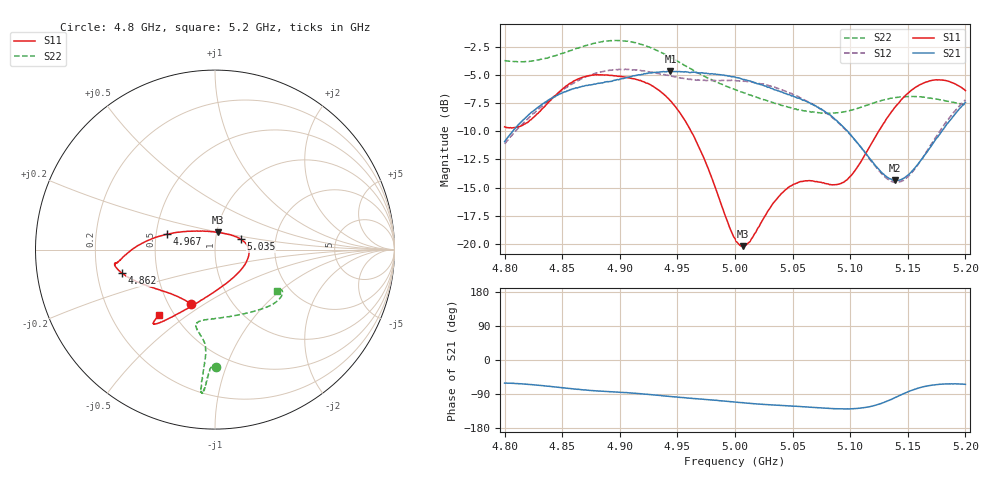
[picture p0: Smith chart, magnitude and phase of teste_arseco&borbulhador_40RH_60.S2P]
! Network Analyzer HP8722D
! Hewlett-Packard
! Data name: Linha & Wilkinson
! Saver's name: Rodrigo Anjos
! Comments: Teste da utilização de aquisição
! continua pelo VNA HP8722D
! Time and date: 15/4/2025 16:51
!  Frequency  S11  S21  S12  S22
# HZ  S  MA R 50
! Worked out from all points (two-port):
!   401 points, 4.8 GHz to 5.2 GHz, reference 50 ohm
!   highest |S21| = -4.65 dB at 4.944 GHz (marker M1); lowest = -14.4 dB at 5.139 GHz (marker M2)
!   |S21| within 3 dB of the highest: 4.832 GHz to 5.068 GHz (236.2 MHz wide, 4.77 % of centre); 5.19802 GHz to end of sweep
!   lowest |S11| = -20.2 dB at 5.007 GHz (marker M3), VSWR 1.22, Z = 50.5 + j9.82 ohm
!   |S11| at or under -10 dB: 4.962 GHz to 5.125 GHz (162.7 MHz wide, 3.23 % of centre)
!   |S22| runs from -8.4 to -1.9 dB; largest |S21 - S12| = 0.88
!   S11 on the Smith chart (normalised r, x): 4.8 GHz: 0.65, -0.44; 4.862 GHz: 0.31, -0.11; 4.967 GHz: 0.57, +0.11; 5.035 GHz: 1.33, +0.16; 5.2 GHz: 0.41, -0.39
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4.8e9  0.3315 -114.0  0.2848 -61.0  0.2785 -175.2  0.6544 -89.6
4.819e9  0.3452 -133.9  0.3678 -64.0  0.3548 -173.5  0.6476 -91.3
4.862e9  0.5364 -166.0  0.4948 -76.9  0.5275 -176.6  0.7405 -93.7
4.867e9  0.5495 -167.9  0.5005 -78.4  0.5436 -177.7  0.7535 -93.9
4.899e9  0.5564 -172.3  0.5367 -85.1  0.5973 175.6  0.803 -95.2
4.934e9  0.4821 -178.1  0.5814 -93.5  0.5729 171.8  0.7181 -95.7
4.944e9  0.4331 177.3  0.5857 -96.4  0.5578 171.8  0.6768 -95.5
4.967e9  0.2812 162.3  0.5775 -102.2  0.5344 174.0  0.5781 -95.1
5e9  0.1054 106.0  0.5515 -111.1  0.5326 176.4  0.4855 -99.3
5.007e9  0.09743 81.7  0.5387 -112.6  0.5296 176.2  0.4715 -101.1
5.014e9  0.1045 59.5  0.5284 -114.8  0.5262 176.0  0.4586 -102.6
5.035e9  0.1554 21.9  0.4838 -119.3  0.4971 175.0  0.4211 -103.8
5.049e9  0.1811 7.1  0.4548 -121.5  0.4673 174.4  0.4021 -100.5
5.067e9  0.1905 -12.3  0.4182 -124.8  0.42 173.9  0.3861 -91.8
5.086e9  0.1831 -42.9  0.3616 -128.5  0.3594 173.7  0.3817 -77.5
5.097e9  0.192 -65.8  0.3192 -129.1  0.3198 174.4  0.389 -68.4
5.134e9  0.3748 -116.5  0.195 -106.2  0.1916 -159.0  0.4429 -43.4
5.139e9  0.406 -119.5  0.1913 -99.3  0.1876 -151.1  0.4476 -41.2
5.152e9  0.4766 -124.8  0.2061 -81.6  0.2026 -130.8  0.4525 -36.3
5.17e9  0.5326 -128.9  0.2704 -66.9  0.2757 -112.9  0.4449 -32.2
5.184e9  0.5313 -130.2  0.3414 -63.1  0.3525 -107.3  0.4319 -31.2
5.2e9  0.4809 -130.6  0.4254 -64.3  0.4369 -106.3  0.4159 -33.5
